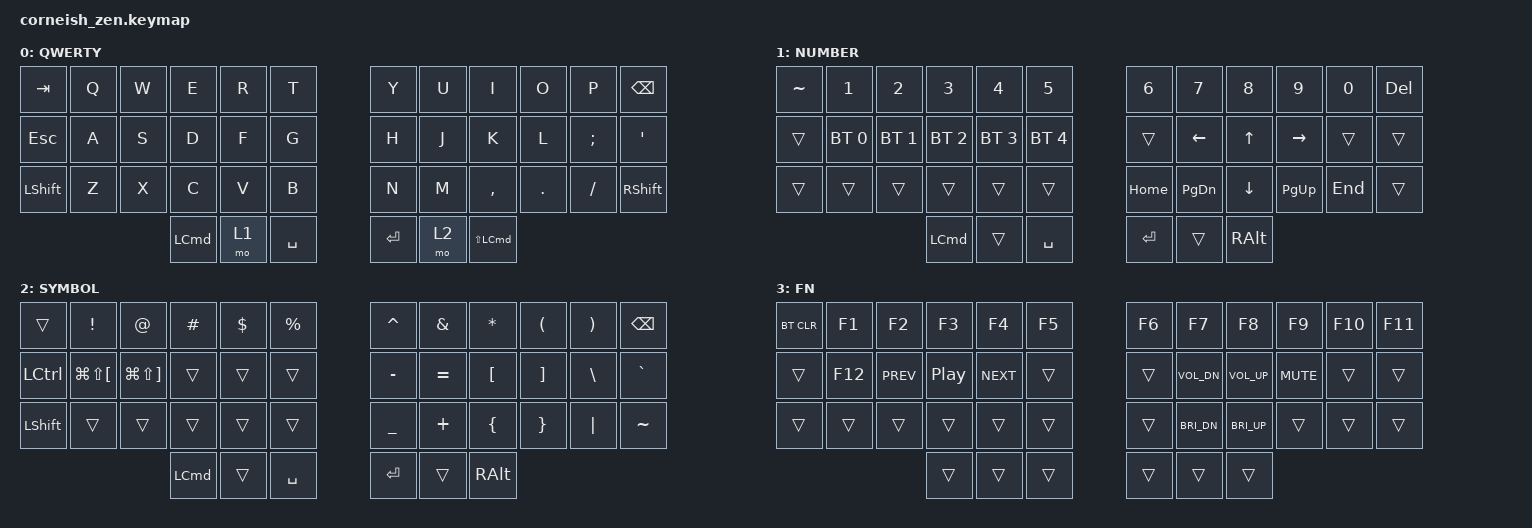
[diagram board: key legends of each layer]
#include <behaviors.dtsi>
#include <dt-bindings/zmk/keys.h>
#include <dt-bindings/zmk/bt.h>

/ {
    chosen {
        zmk,physical-layout = &foostan_corne_6col_layout;
    };
};

/ {
    conditional_layers {
        compatible = "zmk,conditional-layers";
        tri_layer {
            if-layers = <1 2>;
            then-layer = <3>;
        };
    };

    keymap {
        compatible = "zmk,keymap";

        default_layer {
            display-name = "QWERTY";
// --------------------------------------------------------------------------------
// | TAB  |  Q  |  W  |  E  |  R  |  T  |   |  Y  |  U  |  I  |  O  |  P  | BSPC |
// | ESC  |  A  |  S  |  D  |  F  |  G  |   |  H  |  J  |  K  |  L  |  ;  |  '   |
// | SHFT |  Z  |  X  |  C  |  V  |  B  |   |  N  |  M  |  ,  |  .  |  /  | SHFT |
//                    | CMD | LWR | SPC |   | ENT | RSE | CMD+SHFT |
            bindings = <
&kp TAB   &kp Q &kp W &kp E &kp R &kp T   &kp Y &kp U  &kp I     &kp O   &kp P    &kp BSPC
&kp ESC   &kp A &kp S &kp D &kp F &kp G   &kp H &kp J  &kp K     &kp L   &kp SEMI &kp SQT
&kp LSHFT &kp Z &kp X &kp C &kp V &kp B   &kp N &kp M  &kp COMMA &kp DOT &kp FSLH &kp RSHFT
                    &kp LCMD &mo 1 &kp SPACE   &kp RET &mo 2 &kp LS(LCMD)
            >;
        };

        lower_layer {
            display-name = "NUMBER";
// -----------------------------------------------------------------------------------------
// |  ~   |  1  |  2  |  3  |  4  |  5  |   |  6  |  7  |  8  |  9  |  0  | DEL  |
// |      | BT1 | BT2 | BT3 | BT4 | BT5 |   | LFT | DWN |  UP | RGT |     |      |
// |      |     |     |     |     |     |   | HOME| PGDN| PGUP| END |     |      |
//                    | CMD |     | SPC |   | ENT |     | ALT |
            bindings = <
&kp TILDE  &kp N1       &kp N2       &kp N3       &kp N4       &kp N5         &kp N6   &kp N7    &kp N8    &kp N9    &kp N0 &kp DEL
&trans     &bt BT_SEL 0 &bt BT_SEL 1 &bt BT_SEL 2 &bt BT_SEL 3 &bt BT_SEL 4   &trans   &kp LEFT  &kp UP    &kp RIGHT &trans &trans
&trans     &trans       &trans       &trans       &trans       &trans         &kp HOME &kp PG_DN &kp DOWN  &kp PG_UP &kp END &trans
                                     &kp LCMD     &trans       &kp SPACE      &kp RET  &trans    &kp RALT
            >;
        };

        raise_layer {
            display-name = "SYMBOL";
// -----------------------------------------------------------------------------------------
// |      |  !  |  @  |  #  |  $  |  %  |   |  ^  |  &  |  *  |  (  |  )  | BSPC |
// | CTRL |⌘⇧[ |⌘⇧] |     |     |     |   |  -  | LEFT| DOWN|  UP | RGT |  `   |
// | SHFT |     |     |     |     |     |   |  _  |  +  |  {  |  }  | "|" |  ~   |
//                    | CMD |     | SPC |   | ENT |     | ALT |
            bindings = <
&trans    &kp EXCL &kp AT &kp HASH &kp DLLR &kp PRCNT   &kp CARET &kp AMPS  &kp ASTRK &kp LPAR &kp RPAR &kp BSPC
&kp LCTRL &kp LG(LS(LBKT)) &kp LG(LS(RBKT)) &trans &trans &trans   &kp MINUS &kp EQUAL &kp LBKT  &kp RBKT &kp BSLH &kp GRAVE
&kp LSHFT &trans   &trans &trans   &trans   &trans      &kp UNDER &kp PLUS  &kp LBRC  &kp RBRC &kp PIPE &kp TILDE
                          &kp LCMD &trans   &kp SPACE   &kp RET   &trans    &kp RALT
            >;
        };

        fn_layer {
            display-name = "FN";
// -----------------------------------------------------------------------------------------
// | BTCLR|  F1 |  F2 |  F3 |  F4 |  F5 |   |  F6 |  F7 |  F8 |  F9 | F10 | F11  |
// |      | F12 |     |     |     |     |   | PREV|VOLDN|VOLUP| NEXT| MUTE|      |
// |      |     |     |     |     |     |   |BRIDN|BRIUP|     |     |     |      |
//                    |     |     |     |   |     |     |     |
            bindings = <
&bt BT_CLR &kp F1  &kp F2 &kp F3 &kp F4 &kp F5   &kp F6       &kp F7       &kp F8       &kp F9     &kp F10    &kp F11
&trans     &kp F12 &kp C_PREV &kp C_PP &kp C_NEXT &trans   &trans       &kp C_VOL_DN &kp C_VOL_UP &kp C_MUTE &trans     &trans
&trans     &trans  &trans &trans &trans &trans    &trans       &kp C_BRI_DN &kp C_BRI_UP &trans     &trans     &trans
                          &trans &trans &trans    &trans     &trans       &trans
            >;
        };
    };
};
